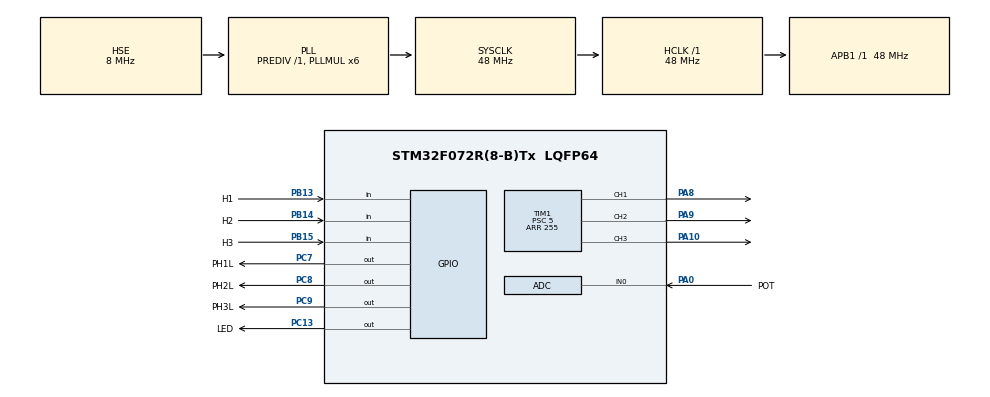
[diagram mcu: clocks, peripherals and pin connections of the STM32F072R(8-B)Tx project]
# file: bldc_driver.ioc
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ADC.ContinuousConvMode=ENABLE
ADC.DMAContinuousRequests=ENABLE
ADC.SamplingTime=ADC_SAMPLETIME_55CYCLES_5
Dma.ADC.0.Direction=DMA_PERIPH_TO_MEMORY
Dma.ADC.0.Instance=DMA1_Channel1
Dma.ADC.0.MemDataAlignment=DMA_MDATAALIGN_HALFWORD
Dma.ADC.0.MemInc=DMA_MINC_ENABLE
Dma.ADC.0.Mode=DMA_CIRCULAR
Dma.ADC.0.PeriphDataAlignment=DMA_PDATAALIGN_HALFWORD
Dma.ADC.0.PeriphInc=DMA_PINC_DISABLE
Dma.ADC.0.Priority=DMA_PRIORITY_LOW
Dma.Request0=ADC
Mcu.Family=STM32F0
Mcu.Name=STM32F072R(8-B)Tx
Mcu.Package=LQFP64
NVIC.DMA1_Channel1_IRQn=true\:0\:0\:false\:false\:true\:false\:true\:true
PA0.GPIO_Label=POT
PA0.Mode=IN0
PA0.Signal=ADC_IN0
PA10.Signal=S_TIM1_CH3
PA13.Mode=Serial_Wire
PA13.Signal=SYS_SWDIO
PA14.Mode=Serial_Wire
PA14.Signal=SYS_SWCLK
PA8.Signal=S_TIM1_CH1
PA9.Signal=S_TIM1_CH2
PB13.GPIO_Label=H1
PB13.GPIO_PuPd=GPIO_PULLUP
PB13.Signal=GPIO_Input
PB14.GPIO_Label=H2
PB14.GPIO_PuPd=GPIO_PULLUP
PB14.Signal=GPIO_Input
PB15.GPIO_Label=H3
PB15.GPIO_PuPd=GPIO_PULLUP
PB15.Signal=GPIO_Input
PC13.GPIO_Label=LED
PC13.Signal=GPIO_Output
PC7.GPIO_Label=PH1L
PC7.Signal=GPIO_Output
PC8.GPIO_Label=PH2L
PC8.Signal=GPIO_Output
PC9.GPIO_Label=PH3L
PC9.Signal=GPIO_Output
PF0-OSC_IN.Mode=HSE-External-Oscillator
PF0-OSC_IN.Signal=RCC_OSC_IN
PF1-OSC_OUT.Mode=HSE-External-Oscillator
PF1-OSC_OUT.Signal=RCC_OSC_OUT
ProjectManager.HeapSize=0x200
ProjectManager.StackSize=0x400
ProjectManager.TargetToolchain=Makefile
RCC.AHBFreq_Value=48000000
RCC.APB1Freq_Value=48000000
RCC.APB1TimFreq_Value=48000000
RCC.HCLKFreq_Value=48000000
RCC.PLLMUL=RCC_PLL_MUL6
RCC.PLLSourceVirtual=RCC_PLLSOURCE_HSE
RCC.SYSCLKFreq_VALUE=48000000
RCC.SYSCLKSource=RCC_SYSCLKSOURCE_PLLCLK
SH.S_TIM1_CH1.0=TIM1_CH1,PWM Generation1 CH1
SH.S_TIM1_CH2.0=TIM1_CH2,PWM Generation2 CH2
SH.S_TIM1_CH3.0=TIM1_CH3,PWM Generation3 CH3
TIM1.Channel-PWM\ Generation1\ CH1=TIM_CHANNEL_1
TIM1.Channel-PWM\ Generation2\ CH2=TIM_CHANNEL_2
TIM1.Channel-PWM\ Generation3\ CH3=TIM_CHANNEL_3
TIM1.Period=255
TIM1.Prescaler=5
VP_TIM1_VS_ClockSourceINT.Mode=Internal
board=custom

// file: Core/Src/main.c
/* USER CODE BEGIN Header */
/**
  ******************************************************************************
  * @file           : main.c
  * @brief          : Main program body
  ******************************************************************************
  * @attention
  *
  * Copyright (c) 2024 STMicroelectronics.
  * All rights reserved.
  *
  * This software is licensed under terms that can be found in the LICENSE file
  * in the root directory of this software component.
  * If no LICENSE file comes with this software, it is provided AS-IS.
  *
  ******************************************************************************
  */
/* USER CODE END Header */
#include "main.h"

/* USER CODE BEGIN Includes */
#include "stdbool.h"
/* USER CODE END Includes */

/* USER CODE BEGIN PD */
#define PH_H  1
#define PH_L  0
#define PH_Z  -1
/* USER CODE END PD */

ADC_HandleTypeDef hadc;
DMA_HandleTypeDef hdma_adc;

TIM_HandleTypeDef htim1;

/* USER CODE BEGIN PV */
uint8_t duty;
uint32_t value_adc;
bool halls[3];
/* USER CODE END PV */

void SystemClock_Config(void);
static void MX_GPIO_Init(void);
static void MX_DMA_Init(void);
static void MX_ADC_Init(void);
static void MX_TIM1_Init(void);
/* USER CODE BEGIN PFP */
void setPhases(int PH1, int PH2, int PH3);
/* USER CODE END PFP */

int main(void)
{

  /* MCU Configuration--------------------------------------------------------*/

  /* Reset of all peripherals, Initializes the Flash interface and the Systick. */
  HAL_Init();

  /* Configure the system clock */
  SystemClock_Config();

  /* Initialize all configured peripherals */
  MX_GPIO_Init();
  MX_DMA_Init();
  MX_ADC_Init();
  MX_TIM1_Init();
  /* USER CODE BEGIN 2 */
  HAL_GPIO_TogglePin(LED_GPIO_Port, LED_Pin);
  HAL_Delay(200);
  HAL_GPIO_TogglePin(LED_GPIO_Port, LED_Pin);

  HAL_ADC_Start_DMA(&hadc,(uint32_t*)&value_adc,1);

  HAL_TIM_PWM_Start(&htim1, TIM_CHANNEL_1);
  HAL_TIM_PWM_Start(&htim1, TIM_CHANNEL_2);
  HAL_TIM_PWM_Start(&htim1, TIM_CHANNEL_3);

  setPhases(PH_Z, PH_L, PH_H);
  HAL_Delay(100);
  setPhases(PH_Z, PH_Z, PH_Z);
  /* USER CODE END 2 */

  /* Infinite loop */
  /* USER CODE BEGIN WHILE */
  while (1)
  {
    halls[0] = HAL_GPIO_ReadPin(H1_GPIO_Port, H1_Pin);
    halls[1] = HAL_GPIO_ReadPin(H2_GPIO_Port, H2_Pin);
    halls[2] = HAL_GPIO_ReadPin(H3_GPIO_Port, H3_Pin);

    duty = (value_adc - 0) * (255 - 0) / (4095 - 0) + 0;

    // SET CORRECT CONFIG
    if(!halls[0] && !halls[1] && halls[2]){
      setPhases(PH_Z, PH_L, PH_H);
    }else if(halls[0] && !halls[1] && halls[2]){
      setPhases(PH_H, PH_L, PH_Z);
    }else if(halls[0] && !halls[1] && !halls[2]){
      setPhases(PH_H, PH_Z, PH_L);
    }else if(halls[0] && halls[1] && !halls[2]){
      setPhases(PH_Z, PH_H, PH_L);
    }else if(!halls[0] && halls[1] && !halls[2]){
      setPhases(PH_L, PH_H, PH_Z);
    }else if(!halls[0] && halls[1] && halls[2]){
      setPhases(PH_L, PH_Z, PH_H);
    }else{ // UNEXPECTED VALUE
      setPhases(PH_Z, PH_Z, PH_Z); // DISABLE PHASES
    }

    HAL_ADC_Start(&hadc);
    /* USER CODE END WHILE */

  }
}

void SystemClock_Config(void)
{
  RCC_OscInitTypeDef RCC_OscInitStruct = {0};
  RCC_ClkInitTypeDef RCC_ClkInitStruct = {0};

  /** Initializes the RCC Oscillators according to the specified parameters
  * in the RCC_OscInitTypeDef structure.
  */
  RCC_OscInitStruct.OscillatorType = RCC_OSCILLATORTYPE_HSI14|RCC_OSCILLATORTYPE_HSE;
  RCC_OscInitStruct.HSEState = RCC_HSE_ON;
  RCC_OscInitStruct.HSI14State = RCC_HSI14_ON;
  RCC_OscInitStruct.HSI14CalibrationValue = 16;
  RCC_OscInitStruct.PLL.PLLState = RCC_PLL_ON;
  RCC_OscInitStruct.PLL.PLLSource = RCC_PLLSOURCE_HSE;
  RCC_OscInitStruct.PLL.PLLMUL = RCC_PLL_MUL6;
  RCC_OscInitStruct.PLL.PREDIV = RCC_PREDIV_DIV1;
  if (HAL_RCC_OscConfig(&RCC_OscInitStruct) != HAL_OK)
  {
    Error_Handler();
  }

  /** Initializes the CPU, AHB and APB buses clocks
  */
  RCC_ClkInitStruct.ClockType = RCC_CLOCKTYPE_HCLK|RCC_CLOCKTYPE_SYSCLK
                              |RCC_CLOCKTYPE_PCLK1;
  RCC_ClkInitStruct.SYSCLKSource = RCC_SYSCLKSOURCE_PLLCLK;
  RCC_ClkInitStruct.AHBCLKDivider = RCC_SYSCLK_DIV1;
  RCC_ClkInitStruct.APB1CLKDivider = RCC_HCLK_DIV1;

  if (HAL_RCC_ClockConfig(&RCC_ClkInitStruct, FLASH_LATENCY_1) != HAL_OK)
  {
    Error_Handler();
  }
}

static void MX_ADC_Init(void)
{

  ADC_ChannelConfTypeDef sConfig = {0};

  /** Configure the global features of the ADC (Clock, Resolution, Data Alignment and number of conversion)
  */
  hadc.Instance = ADC1;
  hadc.Init.ClockPrescaler = ADC_CLOCK_ASYNC_DIV1;
  hadc.Init.Resolution = ADC_RESOLUTION_12B;
  hadc.Init.DataAlign = ADC_DATAALIGN_RIGHT;
  hadc.Init.ScanConvMode = ADC_SCAN_DIRECTION_FORWARD;
  hadc.Init.EOCSelection = ADC_EOC_SINGLE_CONV;
  hadc.Init.LowPowerAutoWait = DISABLE;
  hadc.Init.LowPowerAutoPowerOff = DISABLE;
  hadc.Init.ContinuousConvMode = ENABLE;
  hadc.Init.DiscontinuousConvMode = DISABLE;
  hadc.Init.ExternalTrigConv = ADC_SOFTWARE_START;
  hadc.Init.ExternalTrigConvEdge = ADC_EXTERNALTRIGCONVEDGE_NONE;
  hadc.Init.DMAContinuousRequests = ENABLE;
  hadc.Init.Overrun = ADC_OVR_DATA_PRESERVED;
  if (HAL_ADC_Init(&hadc) != HAL_OK)
  {
    Error_Handler();
  }

  /** Configure for the selected ADC regular channel to be converted.
  */
  sConfig.Channel = ADC_CHANNEL_0;
  sConfig.Rank = ADC_RANK_CHANNEL_NUMBER;
  sConfig.SamplingTime = ADC_SAMPLETIME_55CYCLES_5;
  if (HAL_ADC_ConfigChannel(&hadc, &sConfig) != HAL_OK)
  {
    Error_Handler();
  }

}

static void MX_TIM1_Init(void)
{

  TIM_ClockConfigTypeDef sClockSourceConfig = {0};
  TIM_MasterConfigTypeDef sMasterConfig = {0};
  TIM_OC_InitTypeDef sConfigOC = {0};
  TIM_BreakDeadTimeConfigTypeDef sBreakDeadTimeConfig = {0};

  htim1.Instance = TIM1;
  htim1.Init.Prescaler = 5;
  htim1.Init.CounterMode = TIM_COUNTERMODE_UP;
  htim1.Init.Period = 255;
  htim1.Init.ClockDivision = TIM_CLOCKDIVISION_DIV1;
  htim1.Init.RepetitionCounter = 0;
  htim1.Init.AutoReloadPreload = TIM_AUTORELOAD_PRELOAD_DISABLE;
  if (HAL_TIM_Base_Init(&htim1) != HAL_OK)
  {
    Error_Handler();
  }
  sClockSourceConfig.ClockSource = TIM_CLOCKSOURCE_INTERNAL;
  if (HAL_TIM_ConfigClockSource(&htim1, &sClockSourceConfig) != HAL_OK)
  {
    Error_Handler();
  }
  if (HAL_TIM_PWM_Init(&htim1) != HAL_OK)
  {
    Error_Handler();
  }
  sMasterConfig.MasterOutputTrigger = TIM_TRGO_RESET;
  sMasterConfig.MasterSlaveMode = TIM_MASTERSLAVEMODE_DISABLE;
  if (HAL_TIMEx_MasterConfigSynchronization(&htim1, &sMasterConfig) != HAL_OK)
  {
    Error_Handler();
  }
  sConfigOC.OCMode = TIM_OCMODE_PWM1;
  sConfigOC.Pulse = 0;
  sConfigOC.OCPolarity = TIM_OCPOLARITY_HIGH;
  sConfigOC.OCNPolarity = TIM_OCNPOLARITY_HIGH;
  sConfigOC.OCFastMode = TIM_OCFAST_DISABLE;
  sConfigOC.OCIdleState = TIM_OCIDLESTATE_RESET;
  sConfigOC.OCNIdleState = TIM_OCNIDLESTATE_RESET;
  if (HAL_TIM_PWM_ConfigChannel(&htim1, &sConfigOC, TIM_CHANNEL_1) != HAL_OK)
  {
    Error_Handler();
  }
  if (HAL_TIM_PWM_ConfigChannel(&htim1, &sConfigOC, TIM_CHANNEL_2) != HAL_OK)
  {
    Error_Handler();
  }
  if (HAL_TIM_PWM_ConfigChannel(&htim1, &sConfigOC, TIM_CHANNEL_3) != HAL_OK)
  {
    Error_Handler();
  }
  sBreakDeadTimeConfig.OffStateRunMode = TIM_OSSR_DISABLE;
  sBreakDeadTimeConfig.OffStateIDLEMode = TIM_OSSI_DISABLE;
  sBreakDeadTimeConfig.LockLevel = TIM_LOCKLEVEL_OFF;
  sBreakDeadTimeConfig.DeadTime = 0;
  sBreakDeadTimeConfig.BreakState = TIM_BREAK_DISABLE;
  sBreakDeadTimeConfig.BreakPolarity = TIM_BREAKPOLARITY_HIGH;
  sBreakDeadTimeConfig.AutomaticOutput = TIM_AUTOMATICOUTPUT_DISABLE;
  if (HAL_TIMEx_ConfigBreakDeadTime(&htim1, &sBreakDeadTimeConfig) != HAL_OK)
  {
    Error_Handler();
  }
  HAL_TIM_MspPostInit(&htim1);

}

static void MX_DMA_Init(void)
{

  /* DMA controller clock enable */
  __HAL_RCC_DMA1_CLK_ENABLE();

  /* DMA interrupt init */
  /* DMA1_Channel1_IRQn interrupt configuration */
  HAL_NVIC_SetPriority(DMA1_Channel1_IRQn, 0, 0);
  HAL_NVIC_EnableIRQ(DMA1_Channel1_IRQn);

}

static void MX_GPIO_Init(void)
{
  GPIO_InitTypeDef GPIO_InitStruct = {0};

  /* GPIO Ports Clock Enable */
  __HAL_RCC_GPIOC_CLK_ENABLE();
  __HAL_RCC_GPIOF_CLK_ENABLE();
  __HAL_RCC_GPIOA_CLK_ENABLE();
  __HAL_RCC_GPIOB_CLK_ENABLE();

  /*Configure GPIO pin Output Level */
  HAL_GPIO_WritePin(GPIOC, LED_Pin|PH1L_Pin|PH2L_Pin|PH3L_Pin, GPIO_PIN_RESET);

  /*Configure GPIO pins : LED_Pin PH1L_Pin PH2L_Pin PH3L_Pin */
  GPIO_InitStruct.Pin = LED_Pin|PH1L_Pin|PH2L_Pin|PH3L_Pin;
  GPIO_InitStruct.Mode = GPIO_MODE_OUTPUT_PP;
  GPIO_InitStruct.Pull = GPIO_NOPULL;
  GPIO_InitStruct.Speed = GPIO_SPEED_FREQ_LOW;
  HAL_GPIO_Init(GPIOC, &GPIO_InitStruct);

  /*Configure GPIO pins : H1_Pin H2_Pin H3_Pin */
  GPIO_InitStruct.Pin = H1_Pin|H2_Pin|H3_Pin;
  GPIO_InitStruct.Mode = GPIO_MODE_INPUT;
  GPIO_InitStruct.Pull = GPIO_PULLUP;
  HAL_GPIO_Init(GPIOB, &GPIO_InitStruct);

}

/* USER CODE BEGIN 4 */

void setPhases(int PH1, int PH2, int PH3){
  if (PH1 != -1){
    TIM1->CCR1 = duty*PH1;
    HAL_GPIO_WritePin(PH1L_GPIO_Port, PH1L_Pin, PH1);
  }else{
    TIM1->CCR1 = 0;
    HAL_GPIO_WritePin(PH1L_GPIO_Port, PH1L_Pin, GPIO_PIN_SET);
  }

  if (PH2 != -1) {
    TIM1->CCR2 = duty*PH2;
    HAL_GPIO_WritePin(PH2L_GPIO_Port, PH2L_Pin, PH2);
  }else{
    TIM1->CCR2 = 0;
    HAL_GPIO_WritePin(PH2L_GPIO_Port, PH2L_Pin, GPIO_PIN_SET);
  }

  if (PH3 != -1) {
    TIM1->CCR3 = duty*PH3;
    HAL_GPIO_WritePin(PH3L_GPIO_Port, PH3L_Pin, PH3);
  }else{
    TIM1->CCR3 = 0;
    HAL_GPIO_WritePin(PH3L_GPIO_Port, PH3L_Pin, GPIO_PIN_SET);
  }
}
/* USER CODE END 4 */

void Error_Handler(void)
{
  __disable_irq();
  while (1)
  {
  }
}
